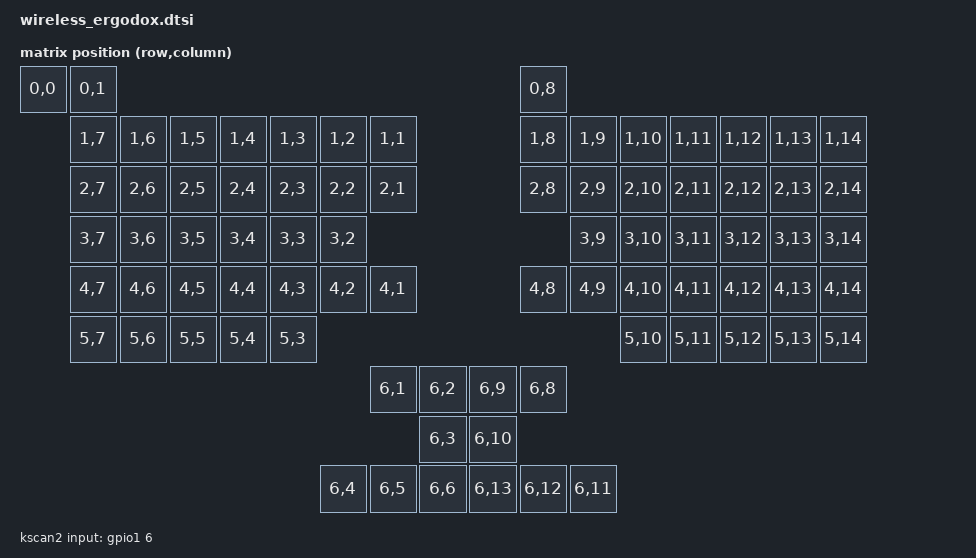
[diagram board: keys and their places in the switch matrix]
/*
 * Copyright (c) 2021 The ZMK Contributors
 *
 * SPDX-License-Identifier: MIT
 */
 
#include <dt-bindings/zmk/matrix_transform.h>

/ {
    chosen {
        zmk,kscan = &kscan0;
        zmk,matrix_transform = &default_transform;
    };

    default_transform: keymap_transform_0 {
        compatible = "zmk,matrix-transform";
        columns = <15>;
        rows = <7>;
        map = <
RC(0,0)   RC(0,1)                                                                    RC(0,8)
          RC(1,7) RC(1,6) RC(1,5) RC(1,4) RC(1,3) RC(1,2) RC(1,1)                    RC(1,8)  RC(1,9) RC(1,10) RC(1,11) RC(1,12) RC(1,13) RC(1,14)
          RC(2,7) RC(2,6) RC(2,5) RC(2,4) RC(2,3) RC(2,2) RC(2,1)                    RC(2,8)  RC(2,9) RC(2,10) RC(2,11) RC(2,12) RC(2,13) RC(2,14)
          RC(3,7) RC(3,6) RC(3,5) RC(3,4) RC(3,3) RC(3,2)                                     RC(3,9) RC(3,10) RC(3,11) RC(3,12) RC(3,13) RC(3,14)
          RC(4,7) RC(4,6) RC(4,5) RC(4,4) RC(4,3) RC(4,2) RC(4,1)                    RC(4,8)  RC(4,9) RC(4,10) RC(4,11) RC(4,12) RC(4,13) RC(4,14)
          RC(5,7) RC(5,6) RC(5,5) RC(5,4) RC(5,3)                                                     RC(5,10) RC(5,11) RC(5,12) RC(5,13) RC(5,14)
                                                          RC(6,1) RC(6,2)   RC(6,9)  RC(6,8)
                                                                  RC(6,3)   RC(6,10)
                                                  RC(6,4) RC(6,5) RC(6,6)   RC(6,13) RC(6,12) RC(6,11)
        >;

    };

    kscan0: kscan_composite {
        compatible = "zmk,kscan-composite";
        label = "KSCAN0";
        columns = <15>;
        rows = <7>;

        // Include switch from dongle
        direct {
            kscan = <&kscan2>;
        };

    };

	kscan2: kscan2 {
		compatible = "zmk,kscan-gpio-direct";
		label = "KSCAN2";
		input-gpios = <&gpio1 6 (GPIO_ACTIVE_LOW | GPIO_PULL_UP)>;
	};

};
